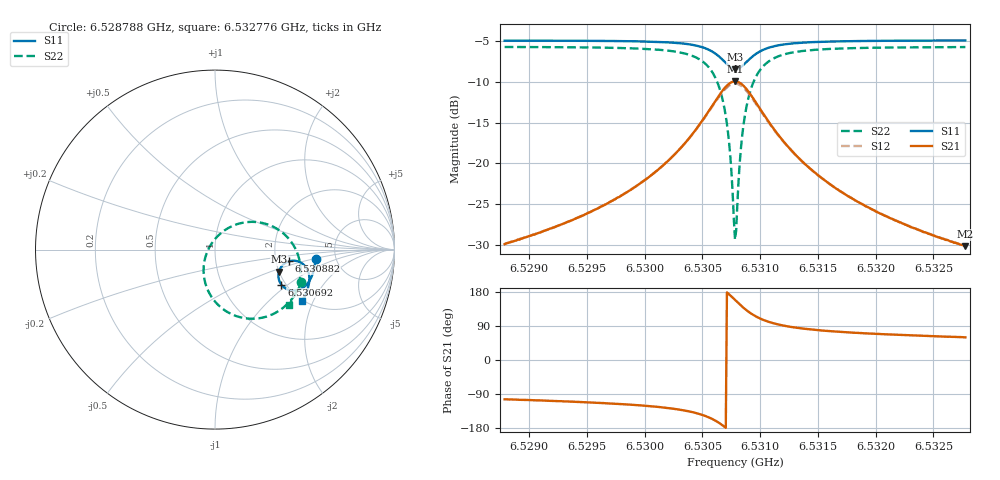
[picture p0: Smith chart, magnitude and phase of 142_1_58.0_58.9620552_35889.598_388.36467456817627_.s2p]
#  HZ  S  RI  R  50.00
! Rohde & Schwarz Vector Network Analyzer
! Rohde-Schwarz,ZNB20-2Port,1311601062101988,3.16
! Created: UTC 3/21/2024, 12:56:40 AM
! freq[Hz]  re:S11  im:S11  re:S21  im:S21  re:S12  im:S12  re:S22  im:S22
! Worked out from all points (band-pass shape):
!   401 points, 6.528788 GHz to 6.532776 GHz, reference 50 ohm
!   highest |S21| = -9.97 dB at 6.530782 GHz (marker M1); lowest = -30.1 dB at 6.532776 GHz (marker M2)
!   |S21| within 3 dB of the highest: 6.530584 GHz to 6.530982 GHz (398.5 kHz wide, 0.0061 % of centre)
!   lowest |S11| = -8.5 dB at 6.530782 GHz (marker M3), VSWR 2.21, Z = 99.8 - j28.6 ohm
!   |S11| at or under -10 dB: nowhere
!   |S22| runs from -29.3 to -5.8 dB; largest |S21 - S12| = 0.013
!   S11 on the Smith chart (normalised r, x): 6.528788 GHz: 3.49, -0.54; 6.530692 GHz: 1.90, -0.90; 6.530882 GHz: 2.36, -0.37; 6.532776 GHz: 1.96, -1.66
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6.5287882e9  0.5606 -0.0524  -0.0076 -0.0312  -0.00821 -0.0312  0.4817 -0.183
6.5294562e9  0.5513 -0.1088  -0.017 -0.0445  -0.0181 -0.0442  0.4494 -0.2459
6.5298051e9  0.5414 -0.142  -0.0285 -0.0572  -0.0301 -0.0565  0.4186 -0.287
6.5301242e9  0.5241 -0.1773  -0.0518 -0.0766  -0.054 -0.0751  0.3649 -0.3351
6.5303535e9  0.4972 -0.2076  -0.0926 -0.0969  -0.0956 -0.0935  0.2816 -0.3749
6.530523e9  0.4527 -0.2278  -0.1631 -0.104  -0.1654 -0.0971  0.1516 -0.3794
6.5306227e9  0.4063 -0.223  -0.2349 -0.0772  -0.2342 -0.0669  0.031 -0.3203
6.5306925e9  0.3698 -0.195  -0.2885 -0.0169  -0.2822 -0.00625  -0.047 -0.2085
6.5307324e9  0.3558 -0.1664  -0.3051 0.0377  -0.2957 0.0465  -0.0638 -0.1146
6.5307722e9  0.354 -0.1316  -0.3005 0.1003  -0.2891 0.1053  -0.0436 -0.013
6.5307822e9  0.356 -0.1229  -0.2955 0.1157  -0.2837 0.1196  -0.0323 0.0111
6.5307922e9  0.3589 -0.1144  -0.2891 0.1304  -0.2772 0.1333  -0.0188 0.0339
6.5308022e9  0.3625 -0.1063  -0.2811 0.1444  -0.2695 0.1462  -0.00309 0.0555
6.5308221e9  0.3724 -0.0917  -0.2614 0.1696  -0.2504 0.1693  0.0338 0.0924
6.530842e9  0.3845 -0.0798  -0.2385 0.1896  -0.2284 0.188  0.0755 0.121
6.5308819e9  0.4121 -0.0653  -0.1879 0.2138  -0.1806 0.2105  0.1632 0.1511
6.5309517e9  0.4567 -0.064  -0.1101 0.2163  -0.1062 0.213  0.2943 0.1398
6.5310514e9  0.496 -0.0859  -0.0427 0.1846  -0.041 0.1827  0.4025 0.0699
6.531201e9  0.5193 -0.1221  -0.00199 0.1366  -0.000697 0.1359  0.4619 -0.0286
6.5314502e9  0.5259 -0.1661  0.0153 0.0894  0.0166 0.0891  0.4768 -0.1282
6.5321182e9  0.5098 -0.2371  0.0178 0.043  0.0187 0.0428  0.4481 -0.246
6.5327763e9  0.4859 -0.2879  0.0157 0.0269  0.0161 0.0268  0.4139 -0.306
